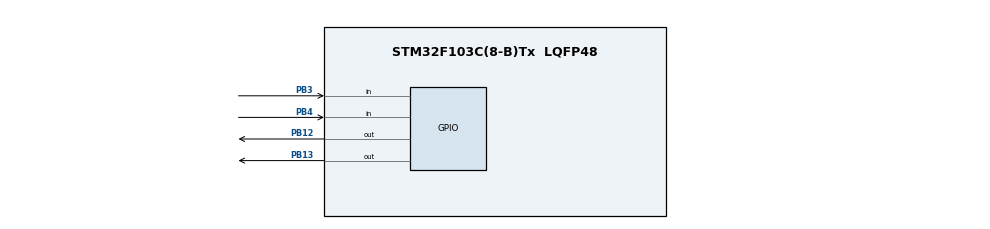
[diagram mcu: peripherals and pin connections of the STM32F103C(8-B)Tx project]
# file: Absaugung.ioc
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Mcu.Family=STM32F1
Mcu.Name=STM32F103C(8-B)Tx
Mcu.Package=LQFP48
NVIC.PriorityGroup=NVIC_PRIORITYGROUP_4
NVIC.TIM1_BRK_IRQn=true\:0\:0\:false\:false\:true\:true
NVIC.TIM1_UP_IRQn=true\:0\:0\:false\:false\:true\:true
NVIC.TIM2_IRQn=true\:0\:0\:false\:false\:true\:true
PA13.Mode=Serial_Wire
PA13.Signal=SYS_JTMS-SWDIO
PA14.Mode=Serial_Wire
PA14.Signal=SYS_JTCK-SWCLK
PB12.Signal=GPIO_Output
PB13.Signal=GPIO_Output
PB3.Signal=GPIO_Input
PB4.Signal=GPIO_Input
ProjectManager.HeapSize=0x200
ProjectManager.StackSize=0x400
ProjectManager.TargetToolchain=TrueSTUDIO
RCC.APB1Freq_Value=8000000
RCC.APB2Freq_Value=8000000
TIM1.Period=999
TIM1.Prescaler=8000
TIM2.Period=999
TIM2.Prescaler=8000
VP_TIM1_VS_ClockSourceINT.Mode=Internal
VP_TIM2_VS_ClockSourceINT.Mode=Internal
board=custom

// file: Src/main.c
/**
  ******************************************************************************
  * @file           : main.c
  * @brief          : Main program body
  ******************************************************************************
  ** This notice applies to any and all portions of this file
  * that are not between comment pairs USER CODE BEGIN and
  * USER CODE END. Other portions of this file, whether
  * inserted by the user or by software development tools
  * are owned by their respective copyright owners.
  *
  * COPYRIGHT(c) 2018 STMicroelectronics
  *
  * Redistribution and use in source and binary forms, with or without modification,
  * are permitted provided that the following conditions are met:
  *   1. Redistributions of source code must retain the above copyright notice,
  *      this list of conditions and the following disclaimer.
  *   2. Redistributions in binary form must reproduce the above copyright notice,
  *      this list of conditions and the following disclaimer in the documentation
  *      and/or other materials provided with the distribution.
  *   3. Neither the name of STMicroelectronics nor the names of its contributors
  *      may be used to endorse or promote products derived from this software
  *      without specific prior written permission.
  *
  * THIS SOFTWARE IS PROVIDED BY THE COPYRIGHT HOLDERS AND CONTRIBUTORS "AS IS"
  * AND ANY EXPRESS OR IMPLIED WARRANTIES, INCLUDING, BUT NOT LIMITED TO, THE
  * IMPLIED WARRANTIES OF MERCHANTABILITY AND FITNESS FOR A PARTICULAR PURPOSE ARE
  * DISCLAIMED. IN NO EVENT SHALL THE COPYRIGHT HOLDER OR CONTRIBUTORS BE LIABLE
  * FOR ANY DIRECT, INDIRECT, INCIDENTAL, SPECIAL, EXEMPLARY, OR CONSEQUENTIAL
  * DAMAGES (INCLUDING, BUT NOT LIMITED TO, PROCUREMENT OF SUBSTITUTE GOODS OR
  * SERVICES; LOSS OF USE, DATA, OR PROFITS; OR BUSINESS INTERRUPTION) HOWEVER
  * CAUSED AND ON ANY THEORY OF LIABILITY, WHETHER IN CONTRACT, STRICT LIABILITY,
  * OR TORT (INCLUDING NEGLIGENCE OR OTHERWISE) ARISING IN ANY WAY OUT OF THE USE
  * OF THIS SOFTWARE, EVEN IF ADVISED OF THE POSSIBILITY OF SUCH DAMAGE.
  *
  ******************************************************************************
  */
#include "main.h"
#include "stm32f1xx_hal.h"

TIM_HandleTypeDef htim1;
TIM_HandleTypeDef htim2;

/* USER CODE BEGIN PV */
/* Private variables ---------------------------------------------------------*/
int register_size = 9;
int countertime = 0;
int trailing_time = 14999; // time in ms ( note "-1" )

GPIO_PinState debounce[9] = {GPIO_PIN_SET};
GPIO_PinState trailing_extraction = GPIO_PIN_SET;
GPIO_PinState new_state = GPIO_PIN_SET;
GPIO_PinState old_state = GPIO_PIN_SET;
GPIO_PinState output = GPIO_PIN_SET;

/* USER CODE END PV */

void SystemClock_Config(void);
static void MX_GPIO_Init(void);
static void MX_TIM1_Init(void);
static void MX_TIM2_Init(void);

/* USER CODE BEGIN PFP */
/* Private function prototypes -----------------------------------------------*/
int ReadInput_Machine() { return HAL_GPIO_ReadPin(GPIOB,GPIO_PIN_3); }
int ReadInput_CNC() { return HAL_GPIO_ReadPin(GPIOB,GPIO_PIN_4); }
void SetOutput_Extraction(GPIO_PinState Pin_State);
void SetOutput_Light(GPIO_PinState Pin_State);

void SetOutput_Extraction(GPIO_PinState Pin_State)
{
	HAL_GPIO_WritePin(GPIOB,GPIO_PIN_12,Pin_State);
}

void SetOutput_Light(GPIO_PinState Pin_State)
{
	HAL_GPIO_WritePin(GPIOB,GPIO_PIN_13,Pin_State);
}
/* USER CODE END PFP */

/* USER CODE BEGIN 0 */
void HAL_TIM_PeriodElapsedCallback(TIM_HandleTypeDef *htim)
{
	if (htim->Instance == TIM1)
	{
		for (int i = register_size - 1; i > 0; i--)
		{
			debounce[i] = debounce[i-1];
		}
		debounce[0] = HAL_GPIO_ReadPin(GPIOB,GPIO_PIN_4);
	}

	if (htim->Instance == TIM2)
	{

		HAL_TIM_Base_Stop_IT(&htim2);
//		__HAL_TIM_SET_COUNTER(&htim2,0);
		trailing_extraction = GPIO_PIN_SET;
	}
}

GPIO_PinState DEBOUNCE_CNC(void)
{
	int state_set = 0;
	int state_reset = 0;
	for (int i = register_size - 1; i >= 0; i--)
	{
		if (debounce[i] == GPIO_PIN_SET)
			state_set++;
		else if (debounce[i] == GPIO_PIN_RESET)
			state_reset++;
	}
	if (state_set > state_reset)
		return GPIO_PIN_SET;
	else if (state_reset > state_set)
		return GPIO_PIN_RESET;

	// 'error' return
	return GPIO_PIN_SET;
}

/* USER CODE END 0 */

int main(void)
{
  /* USER CODE BEGIN 1 */
	for (int i = register_size - 1; i > 0; i--)
	{
		debounce[i] = GPIO_PIN_SET;
	}
  /* USER CODE END 1 */

  /* MCU Configuration----------------------------------------------------------*/

  /* Reset of all peripherals, Initializes the Flash interface and the Systick. */
  HAL_Init();

  /* Configure the system clock */
  SystemClock_Config();

  /* Initialize all configured peripherals */
  MX_GPIO_Init();
  MX_TIM1_Init();
  MX_TIM2_Init();
  /* USER CODE BEGIN 2 */
  HAL_TIM_Base_Start_IT(&htim1);
/* --------------------------------------------------------------------
 *  Wenn der Timer das erste mal gestartet wird, springt er in Handler PeriodElapsedCallback
 * ist hier nicht schlimm aber bei Wiederverwendung beachten!
 --------------------------------------------------------------------*/
  HAL_TIM_Base_Start_IT(&htim2);
  HAL_TIM_Base_Stop_IT(&htim2);
  __HAL_TIM_SET_COUNTER(&htim2,0);
  /* USER CODE END 2 */

  /* Infinite loop */
  /* USER CODE BEGIN WHILE */
  while (1)
  {
	  new_state = DEBOUNCE_CNC();

	  if (DEBOUNCE_CNC() == GPIO_PIN_RESET)
		  trailing_extraction = GPIO_PIN_RESET;
	  if (ReadInput_Machine() == GPIO_PIN_RESET)
		  output = GPIO_PIN_RESET;
	  // Start trailing with edge detection
	  if (new_state == GPIO_PIN_SET && old_state == GPIO_PIN_RESET)
		  {
		  if (__HAL_TIM_GET_COUNTER(&htim2))
		  {
			  HAL_TIM_Base_Stop_IT(&htim2);
			  __HAL_TIM_SET_COUNTER(&htim2,0);
		  }
		  HAL_TIM_Base_Start_IT(&htim2);
		  }

	  if (DEBOUNCE_CNC() == GPIO_PIN_SET && ReadInput_Machine() == GPIO_PIN_SET)
		  output = GPIO_PIN_SET;

	  if (output == GPIO_PIN_RESET || trailing_extraction == GPIO_PIN_RESET)
	  {
		  SetOutput_Extraction(GPIO_PIN_RESET);
		  SetOutput_Light(GPIO_PIN_RESET);
	  }
	  else
	  {
		  SetOutput_Extraction(GPIO_PIN_SET);
		  SetOutput_Light(GPIO_PIN_SET);
	  }
	  old_state = new_state;
  /* USER CODE END WHILE */

  }

}

void SystemClock_Config(void)
{

  RCC_OscInitTypeDef RCC_OscInitStruct;
  RCC_ClkInitTypeDef RCC_ClkInitStruct;

    /**Initializes the CPU, AHB and APB busses clocks
    */
  RCC_OscInitStruct.OscillatorType = RCC_OSCILLATORTYPE_HSI;
  RCC_OscInitStruct.HSIState = RCC_HSI_ON;
  RCC_OscInitStruct.HSICalibrationValue = 16;
  RCC_OscInitStruct.PLL.PLLState = RCC_PLL_NONE;
  if (HAL_RCC_OscConfig(&RCC_OscInitStruct) != HAL_OK)
  {
    _Error_Handler(__FILE__, __LINE__);
  }

    /**Initializes the CPU, AHB and APB busses clocks
    */
  RCC_ClkInitStruct.ClockType = RCC_CLOCKTYPE_HCLK|RCC_CLOCKTYPE_SYSCLK
                              |RCC_CLOCKTYPE_PCLK1|RCC_CLOCKTYPE_PCLK2;
  RCC_ClkInitStruct.SYSCLKSource = RCC_SYSCLKSOURCE_HSI;
  RCC_ClkInitStruct.AHBCLKDivider = RCC_SYSCLK_DIV1;
  RCC_ClkInitStruct.APB1CLKDivider = RCC_HCLK_DIV1;
  RCC_ClkInitStruct.APB2CLKDivider = RCC_HCLK_DIV1;

  if (HAL_RCC_ClockConfig(&RCC_ClkInitStruct, FLASH_LATENCY_0) != HAL_OK)
  {
    _Error_Handler(__FILE__, __LINE__);
  }

    /**Configure the Systick interrupt time
    */
  HAL_SYSTICK_Config(HAL_RCC_GetHCLKFreq()/1000);

    /**Configure the Systick
    */
  HAL_SYSTICK_CLKSourceConfig(SYSTICK_CLKSOURCE_HCLK);

  /* SysTick_IRQn interrupt configuration */
  HAL_NVIC_SetPriority(SysTick_IRQn, 0, 0);
}

/* TIM1 init function */
static void MX_TIM1_Init(void)
{

  TIM_ClockConfigTypeDef sClockSourceConfig;
  TIM_MasterConfigTypeDef sMasterConfig;

  htim1.Instance = TIM1;
  htim1.Init.Prescaler = 8000;
  htim1.Init.CounterMode = TIM_COUNTERMODE_UP;
  htim1.Init.Period = 9;
  htim1.Init.ClockDivision = TIM_CLOCKDIVISION_DIV1;
  htim1.Init.RepetitionCounter = 0;
  htim1.Init.AutoReloadPreload = TIM_AUTORELOAD_PRELOAD_DISABLE;
  if (HAL_TIM_Base_Init(&htim1) != HAL_OK)
  {
    _Error_Handler(__FILE__, __LINE__);
  }

  sClockSourceConfig.ClockSource = TIM_CLOCKSOURCE_INTERNAL;
  if (HAL_TIM_ConfigClockSource(&htim1, &sClockSourceConfig) != HAL_OK)
  {
    _Error_Handler(__FILE__, __LINE__);
  }

  sMasterConfig.MasterOutputTrigger = TIM_TRGO_RESET;
  sMasterConfig.MasterSlaveMode = TIM_MASTERSLAVEMODE_DISABLE;
  if (HAL_TIMEx_MasterConfigSynchronization(&htim1, &sMasterConfig) != HAL_OK)
  {
    _Error_Handler(__FILE__, __LINE__);
  }

}

/* TIM2 init function */
static void MX_TIM2_Init(void)
{

  TIM_ClockConfigTypeDef sClockSourceConfig;
  TIM_MasterConfigTypeDef sMasterConfig;

  htim2.Instance = TIM2;
  htim2.Init.Prescaler = 8000;
  htim2.Init.CounterMode = TIM_COUNTERMODE_UP;
  htim2.Init.Period = trailing_time;
  htim2.Init.ClockDivision = TIM_CLOCKDIVISION_DIV1;
  htim2.Init.AutoReloadPreload = TIM_AUTORELOAD_PRELOAD_DISABLE;
  if (HAL_TIM_Base_Init(&htim2) != HAL_OK)
  {
    _Error_Handler(__FILE__, __LINE__);
  }

  sClockSourceConfig.ClockSource = TIM_CLOCKSOURCE_INTERNAL;
  if (HAL_TIM_ConfigClockSource(&htim2, &sClockSourceConfig) != HAL_OK)
  {
    _Error_Handler(__FILE__, __LINE__);
  }

  sMasterConfig.MasterOutputTrigger = TIM_TRGO_RESET;
  sMasterConfig.MasterSlaveMode = TIM_MASTERSLAVEMODE_DISABLE;
  if (HAL_TIMEx_MasterConfigSynchronization(&htim2, &sMasterConfig) != HAL_OK)
  {
    _Error_Handler(__FILE__, __LINE__);
  }

}

/** Configure pins as
        * Analog
        * Input
        * Output
        * EVENT_OUT
        * EXTI
*/
static void MX_GPIO_Init(void)
{

  GPIO_InitTypeDef GPIO_InitStruct;

  /* GPIO Ports Clock Enable */
  __HAL_RCC_GPIOB_CLK_ENABLE();
  __HAL_RCC_GPIOA_CLK_ENABLE();

  /*Configure GPIO pin Output Level */
  HAL_GPIO_WritePin(GPIOB, GPIO_PIN_12|GPIO_PIN_13, GPIO_PIN_SET);

  /*Configure GPIO pins : PB12 PB13 */
  GPIO_InitStruct.Pin = GPIO_PIN_12|GPIO_PIN_13;
  GPIO_InitStruct.Mode = GPIO_MODE_OUTPUT_PP;
  GPIO_InitStruct.Pull = GPIO_PULLUP;
  GPIO_InitStruct.Speed = GPIO_SPEED_FREQ_LOW;
  HAL_GPIO_Init(GPIOB, &GPIO_InitStruct);

  /*Configure GPIO pins : PB3 PB4 */
  GPIO_InitStruct.Pin = GPIO_PIN_3|GPIO_PIN_4;
  GPIO_InitStruct.Mode = GPIO_MODE_INPUT;
  GPIO_InitStruct.Pull = GPIO_PULLUP;
  HAL_GPIO_Init(GPIOB, &GPIO_InitStruct);

}

void _Error_Handler(char *file, int line)
{
  while(1)
  {
  }
}

/************************ (C) COPYRIGHT STMicroelectronics *****END OF FILE****/
